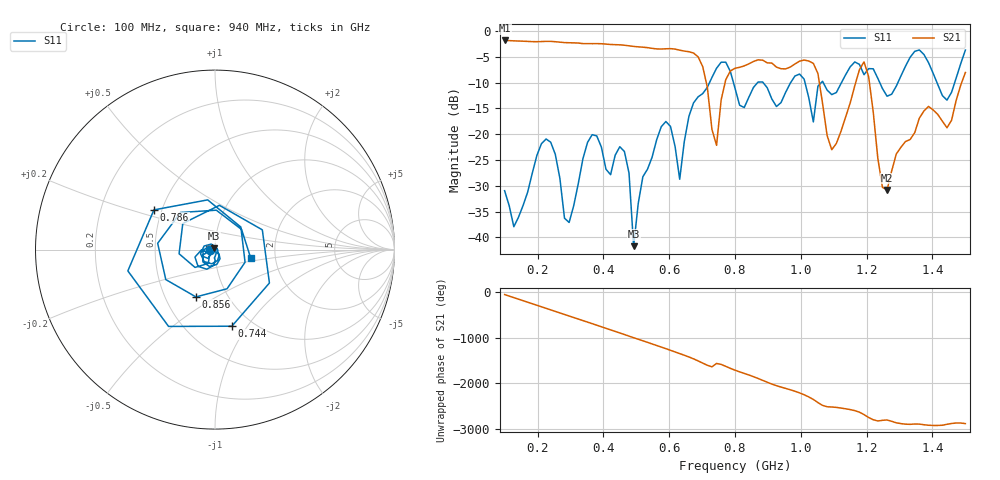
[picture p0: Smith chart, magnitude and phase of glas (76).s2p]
! NanoVNA-App
! Date: 2025-09-25 15:56:04
! Start: 100MHz Stop: 1,5GHz Points: 101
! S-Parameter data: F S11 S21 S12 S22
# Hz S RI R 50
!  Frequency  S11_Real  S11_Imag  S21_Real  S21_Imag  S12_Real  S12_Imag  S22_Real  S22_Imag
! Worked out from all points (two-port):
!   101 points, 100 MHz to 1.5 GHz, reference 50 ohm
!   highest |S21| = -1.80 dB at 100 MHz (marker M1); lowest = -30.8 dB at 1.262 GHz (marker M2)
!   |S21| within 3 dB of the highest: start of sweep to 684.4 MHz
!   lowest |S11| = -41.7 dB at 492 MHz (marker M3), VSWR 1.02, Z = 49.5 + j0.64 ohm
!   |S11| at or under -10 dB: start of sweep to 722.5 MHz; 795.4 MHz to 868.3 MHz (72.87 MHz wide, 8.76 % of centre); 885.7 MHz to 968.9 MHz (83.19 MHz wide, 8.97 % of centre) (the widest 3 of 7)
!   S12 and S22 are empty: the file has one direction only
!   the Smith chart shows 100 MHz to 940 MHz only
!   S11 on the Smith chart (normalised r, x): 100 MHz: 0.95, -0.01; 744 MHz: 0.81, -0.85; 786 MHz: 0.45, +0.24; 856 MHz: 0.71, -0.41; 940 MHz: 1.49, -0.14
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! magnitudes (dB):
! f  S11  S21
! 100 MHz  -31.0  -1.8
! 128 MHz  -37.9  -1.9
! 226 MHz  -20.9  -2.0
! 296 MHz  -37.1  -2.2
! 338 MHz  -24.7  -2.4
! 464 MHz  -23.3  -2.7
! 492 MHz  -41.7  -3.0
! 576 MHz  -18.5  -3.5
! 632 MHz  -28.7  -3.7
! 702 MHz  -12.1  -6.9
! 744 MHz  -7.2  -22.1
! 786 MHz  -7.8  -7.7
! 800 MHz  -11.1  -7.2
! 856 MHz  -10.9  -5.9
! 940 MHz  -13.8  -7.3
! 996 MHz  -8.3  -5.8
! 1.038 GHz  -17.6  -6.2
! 1.094 GHz  -12.3  -23.0
! 1.192 GHz  -8.4  -6.0
! 1.262 GHz  -12.6  -30.8
! 1.276 GHz  -12.2  -27.1
! 1.5 GHz  -3.7  -8.0
